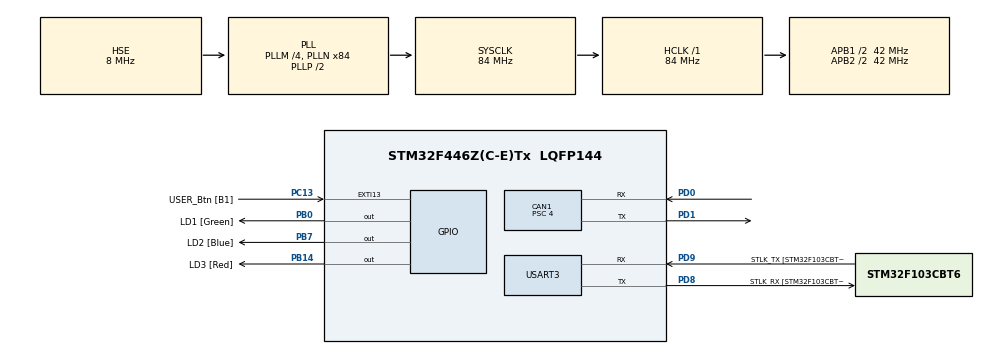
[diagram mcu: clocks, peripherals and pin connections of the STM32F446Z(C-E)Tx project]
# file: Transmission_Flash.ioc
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CAN1.BS1=CAN_BS1_13TQ
CAN1.BS2=CAN_BS2_2TQ
CAN1.CalculateBaudRate=656250
CAN1.CalculateTimeBit=1523
CAN1.CalculateTimeQuantum=95.23809523809524
CAN1.NART=ENABLE
CAN1.Prescaler=4
Mcu.Family=STM32F4
Mcu.Name=STM32F446Z(C-E)Tx
Mcu.Package=LQFP144
NVIC.CAN1_RX0_IRQn=true\:0\:0\:false\:false\:true\:true\:true\:true
NVIC.EXTI15_10_IRQn=true\:0\:0\:false\:false\:true\:true\:true\:true
NVIC.PriorityGroup=NVIC_PRIORITYGROUP_4
PB0.GPIO_Label=LD1 [Green]
PB0.Signal=GPIO_Output
PB14.GPIO_Label=LD3 [Red]
PB14.Signal=GPIO_Output
PB7.GPIO_Label=LD2 [Blue]
PB7.Signal=GPIO_Output
PC13.GPIO_Label=USER_Btn [B1]
PC13.Signal=GPXTI13
PC14-OSC32_IN.Mode=LSE-External-Oscillator
PC14-OSC32_IN.Signal=RCC_OSC32_IN
PC15-OSC32_OUT.Mode=LSE-External-Oscillator
PC15-OSC32_OUT.Signal=RCC_OSC32_OUT
PD0.Mode=CAN_Activate
PD0.Signal=CAN1_RX
PD1.Mode=CAN_Activate
PD1.Signal=CAN1_TX
PD8.GPIO_Label=STLK_RX [STM32F103CBT6_PA3]
PD8.Mode=Asynchronous
PD8.Signal=USART3_TX
PD9.GPIO_Label=STLK_TX [STM32F103CBT6_PA2]
PD9.Mode=Asynchronous
PD9.Signal=USART3_RX
PH0-OSC_IN.GPIO_Label=MCO [STM32F103CBT6_PA8]
PH0-OSC_IN.Mode=HSE-External-Clock-Source
PH0-OSC_IN.Signal=RCC_OSC_IN
PH1-OSC_OUT.Mode=HSE-External-Clock-Source
PH1-OSC_OUT.Signal=RCC_OSC_OUT
ProjectManager.HeapSize=0x200
ProjectManager.StackSize=0x400
ProjectManager.TargetToolchain=STM32CubeIDE
RCC.48MHZClocksFreq_Value=24000000
RCC.AHBFreq_Value=84000000
RCC.APB1CLKDivider=RCC_HCLK_DIV2
RCC.APB1Freq_Value=42000000
RCC.APB1TimFreq_Value=84000000
RCC.APB2CLKDivider=RCC_HCLK_DIV2
RCC.APB2Freq_Value=42000000
RCC.APB2TimFreq_Value=84000000
RCC.CortexFreq_Value=84000000
RCC.HCLKFreq_Value=84000000
RCC.HSE_VALUE=8000000
RCC.HSI_VALUE=16000000
RCC.PLLM=4
RCC.PLLMUL=RCC_PLL_MUL9
RCC.PLLN=84
RCC.PLLQ=7
RCC.PLLSourceVirtual=RCC_PLLSOURCE_HSE
RCC.PRESCALERUSB=RCC_USBCLKSOURCE_PLL_DIV1_5
RCC.SYSCLKFreq_VALUE=84000000
RCC.SYSCLKSource=RCC_SYSCLKSOURCE_PLLCLK
RCC.SYSCLKSourceVirtual=RCC_SYSCLKSOURCE_PLLCLK
RCC.USBFreq_Value=24000000
RCC.VCOOutputFreq_Value=168000000
USART3.VirtualMode=VM_ASYNC
board=NUCLEO-F446ZE

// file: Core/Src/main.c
/* USER CODE BEGIN Header */
/**
  ******************************************************************************
  * @file           : main.c
  * @brief          : Main program body
  ******************************************************************************
  * @attention
  *
  * Copyright (c) 2024 STMicroelectronics.
  * All rights reserved.
  *
  * This software is licensed under terms that can be found in the LICENSE file
  * in the root directory of this software component.
  * If no LICENSE file comes with this software, it is provided AS-IS.
  *
  ******************************************************************************
  */
/* USER CODE END Header */
#include "main.h"

/* USER CODE BEGIN Includes */
#include <stdio.h>
#include "F446ZE_FLASH_Sector_Addresses.h"
#include "applications.h"
/* USER CODE END Includes */

/* USER CODE BEGIN PD */

/* Before transmitting, we will program the update in Sector 7 ( = its last sector) of one of the F446 boards.
 * Programming a .bin file in the Flash memory is done through the STM32CubeProgrammer application.
 * This update will then be send to the second F446 board through the CAN bus. Here, we use wires to simulate this process.
 * For a real space application, a wireless CAN transceiver has to be used.
 * The receiving board will also store the update in sector 7. The sector choice is just an arbitrary decision.
 * Any other sector can be chosen too, as long as it doesn't conflict with firmware code. */

#define FLASH_USER_START_ADDR_TX   ADDR_FLASH_SECTOR_5_START		/* Start @ of user Flash area */
#define FLASH_USER_START_ADDR_RX   ADDR_FLASH_SECTOR_5_START
#define FLASH_USER_END_ADDR_TX     ADDR_FLASH_SECTOR_5_END 			/* End @ of user Flash area */
#define FLASH_USER_END_ADDR_RX	   ADDR_FLASH_SECTOR_5_END

#define DATA_32                    ((uint32_t)0x12345678)
/* USER CODE END PD */

CAN_HandleTypeDef hcan1;

UART_HandleTypeDef huart3;

/* USER CODE BEGIN PV */

// Define whether the board will be sending or receiving.
uint8_t			      	TX;

// CAN variables
CAN_TxHeaderTypeDef   	TxHeader_GroundStation;
CAN_TxHeaderTypeDef   	TxHeader_CubeSat;
CAN_RxHeaderTypeDef   	RxHeader_GroundStation;
CAN_RxHeaderTypeDef   	RxHeader_CubeSat;
uint8_t               	TxData[8];
uint8_t               	RxData[8];
uint32_t              	TxMailbox;
enum board_status 	  	{NO_UPDATE_AVAILABLE, SENDING_UPDATE, RECEIVING_UPDATE, UPDATE_FINISHED};
enum board_status 	  	board_status = NO_UPDATE_AVAILABLE;
enum ACK_status		  	{ACK, NACK};
enum ACK_status			ack_status = NACK;

// Flash Operation variables
uint32_t FirstSector = 0, NbOfSectors = 0;
uint32_t Address = FLASH_USER_START_ADDR_RX, SECTORError = 0;
__IO uint32_t data32 = 0 , MemoryProgramStatus = 0;
uint8_t TxBuffer;

/*Variable used for Flash Erase procedure*/
static FLASH_EraseInitTypeDef EraseInitStruct;

/* USER CODE END PV */

void SystemClock_Config(void);
static void MX_GPIO_Init(void);
static void MX_USART3_UART_Init(void);
static void MX_CAN1_Init(void);
/* USER CODE BEGIN PFP */

/* Function prototypes for Flash Operations */
static uint32_t GetSector(uint32_t Address);
static uint32_t GetSectorSize(uint32_t Sector);
static void Read_FLASH_and_Prepare_Data_for_CAN(uint32_t Sector, uint32_t StartSectorAddress);
static uint32_t Read_Message_and_Write_in_FLASH(uint32_t StartSectorAddress, uint32_t EndSectorAddress);
//static void sendACK(void);
//static enum ACK_status receiveACK(void);
/* USER CODE END PFP */

int main(void)
{
  /* USER CODE BEGIN 1 */

	/* Transmitting board: 	TX = 1
	 * Receiving board: 	TX = 0 */

	TX = 1;

  /* USER CODE END 1 */

  /* MCU Configuration--------------------------------------------------------*/

  /* Reset of all peripherals, Initializes the Flash interface and the Systick. */
  HAL_Init();

  /* Configure the system clock */
  SystemClock_Config();

  /* Initialize all configured peripherals */
  MX_GPIO_Init();
  MX_USART3_UART_Init();
  MX_CAN1_Init();
  /* USER CODE BEGIN 2 */

  /* As mentioned in 'stm32f4xx_hal_can.c', if you want to change any of the callback functions defined in 'stm32f4xx_hal_can.h',
   * you first need to set the macro 'USE_HAL_CAN_REGISTER_CALLBACKS' to 1 in 'stm32f4xx_hal_conf.h'.
   * This can also be done in the .ioc file GUI by going to Project Manager > Advanced Settings > Register Callback > CAN: ENABLE
   * Secondly, you need to register this callback using the function below. */
  //HAL_CAN_RegisterCallback(&hcan1, HAL_CAN_RX_FIFO0_MSG_PENDING_CB_ID, HAL_CAN_RxFifo0MsgPendingCallback);

  /* Before receiving an update, we need to make sure that the receiving board erases the sector where the update will be stored. */
  if (!TX){

	  /* Unlock the Flash to enable the flash control register access */
	  HAL_FLASH_Unlock();

	  /* Erase the user Flash area defined by FLASH_USER_START_ADDR_RX and FLASH_USER_END_ADDR_RX) */

	  /* Get the 1st sector to erase */
	  FirstSector = GetSector(FLASH_USER_START_ADDR_RX);
	  /* Get the number of sector to erase from 1st sector*/
	  NbOfSectors = GetSector(FLASH_USER_END_ADDR_RX) - FirstSector + 1;
	  /* Fill EraseInit structure*/
	  EraseInitStruct.TypeErase     = FLASH_TYPEERASE_SECTORS;
	  EraseInitStruct.VoltageRange  = FLASH_VOLTAGE_RANGE_3;
	  EraseInitStruct.Sector        = FirstSector;
	  EraseInitStruct.NbSectors     = NbOfSectors;

	  if (HAL_FLASHEx_Erase(&EraseInitStruct, &SECTORError) != HAL_OK)
	  {
	    /*
	      Error occurred while sector erase.
	      User can add here some code to deal with this error.
	      SECTORError will contain the faulty sector and then to know the code error on this sector,
	      user can call function 'HAL_FLASH_GetError()'
	    */
	    /* Infinite loop */
	    while (1)
	    {
	    	HAL_GPIO_WritePin(GPIOB, LD3_Pin, GPIO_PIN_SET);
	    }
	  }

	  /* Add a small delay so the Flash erase can be completed before the CAN is started. */
	  //HAL_Delay(2000);
	  HAL_FLASH_Lock();
    }

  /* Start the CAN and enable interrupts*/
  //HAL_CAN_Start(&hcan1);

  application1();
  /* USER CODE END 2 */

  /* Infinite loop */
  while (1)
  {

    /* USER CODE BEGIN 3 */

	  //printf("in the while \r\n");
	  if (TX){
		  if (board_status == NO_UPDATE_AVAILABLE){
			  HAL_GPIO_WritePin(GPIOB, LD2_Pin | LD1_Pin, GPIO_PIN_RESET);
			  HAL_GPIO_TogglePin(GPIOB, LD3_Pin);
			  HAL_Delay(1000);
		  }
		  else if (board_status == SENDING_UPDATE){
			  HAL_GPIO_WritePin(GPIOB, LD3_Pin | LD1_Pin, GPIO_PIN_RESET);
			  HAL_GPIO_TogglePin(GPIOB, LD2_Pin);
			  HAL_Delay(100);
		  }
		  else if (board_status == UPDATE_FINISHED){
			  HAL_GPIO_WritePin(GPIOB, LD2_Pin | LD3_Pin, GPIO_PIN_RESET);
			  HAL_GPIO_TogglePin(GPIOB, LD1_Pin);
			  HAL_Delay(1000);
		  }
	  }
	  else {
		  HAL_Delay(100);

		  if (HAL_CAN_GetRxFifoFillLevel(&hcan1, CAN_RX_FIFO0) != 0){
			  /* Get RX message */
			  if (HAL_CAN_GetRxMessage(&hcan1, CAN_RX_FIFO0, &RxHeader_CubeSat, RxData) != HAL_OK) {
				  /* Reception Error */
				  Error_Handler();
			  }
		  }
		  if (board_status == NO_UPDATE_AVAILABLE){
			  HAL_GPIO_WritePin(GPIOB, LD2_Pin | LD1_Pin, GPIO_PIN_RESET);
			  HAL_GPIO_TogglePin(GPIOB, LD3_Pin);
			  HAL_Delay(1000);
		  }
		  else if (board_status == RECEIVING_UPDATE){
			  HAL_GPIO_WritePin(GPIOB, LD3_Pin | LD1_Pin, GPIO_PIN_RESET);
			  HAL_GPIO_TogglePin(GPIOB, LD2_Pin);
			  HAL_Delay(100);
		  }
		  else if (board_status == UPDATE_FINISHED){
			  HAL_GPIO_WritePin(GPIOB, LD2_Pin | LD3_Pin, GPIO_PIN_RESET);
			  HAL_GPIO_TogglePin(GPIOB, LD1_Pin);
			  HAL_Delay(1000);
		  }
	  }
  }
  /* USER CODE END 3 */
}

void SystemClock_Config(void)
{
  RCC_OscInitTypeDef RCC_OscInitStruct = {0};
  RCC_ClkInitTypeDef RCC_ClkInitStruct = {0};

  /** Configure the main internal regulator output voltage
  */
  __HAL_RCC_PWR_CLK_ENABLE();
  __HAL_PWR_VOLTAGESCALING_CONFIG(PWR_REGULATOR_VOLTAGE_SCALE3);

  /** Initializes the RCC Oscillators according to the specified parameters
  * in the RCC_OscInitTypeDef structure.
  */
  RCC_OscInitStruct.OscillatorType = RCC_OSCILLATORTYPE_HSE;
  RCC_OscInitStruct.HSEState = RCC_HSE_BYPASS;
  RCC_OscInitStruct.PLL.PLLState = RCC_PLL_ON;
  RCC_OscInitStruct.PLL.PLLSource = RCC_PLLSOURCE_HSE;
  RCC_OscInitStruct.PLL.PLLM = 4;
  RCC_OscInitStruct.PLL.PLLN = 84;
  RCC_OscInitStruct.PLL.PLLP = RCC_PLLP_DIV2;
  RCC_OscInitStruct.PLL.PLLQ = 7;
  RCC_OscInitStruct.PLL.PLLR = 2;
  if (HAL_RCC_OscConfig(&RCC_OscInitStruct) != HAL_OK)
  {
    Error_Handler();
  }

  /** Initializes the CPU, AHB and APB buses clocks
  */
  RCC_ClkInitStruct.ClockType = RCC_CLOCKTYPE_HCLK|RCC_CLOCKTYPE_SYSCLK
                              |RCC_CLOCKTYPE_PCLK1|RCC_CLOCKTYPE_PCLK2;
  RCC_ClkInitStruct.SYSCLKSource = RCC_SYSCLKSOURCE_PLLCLK;
  RCC_ClkInitStruct.AHBCLKDivider = RCC_SYSCLK_DIV1;
  RCC_ClkInitStruct.APB1CLKDivider = RCC_HCLK_DIV2;
  RCC_ClkInitStruct.APB2CLKDivider = RCC_HCLK_DIV2;

  if (HAL_RCC_ClockConfig(&RCC_ClkInitStruct, FLASH_LATENCY_2) != HAL_OK)
  {
    Error_Handler();
  }
}

static void MX_CAN1_Init(void)
{

  /* USER CODE BEGIN CAN1_Init 0 */
  CAN_FilterTypeDef  sFilterConfig0;
  /* USER CODE END CAN1_Init 0 */

  hcan1.Instance = CAN1;
  hcan1.Init.Prescaler = 4;
  hcan1.Init.Mode = CAN_MODE_NORMAL;
  hcan1.Init.SyncJumpWidth = CAN_SJW_1TQ;
  hcan1.Init.TimeSeg1 = CAN_BS1_13TQ;
  hcan1.Init.TimeSeg2 = CAN_BS2_2TQ;
  hcan1.Init.TimeTriggeredMode = DISABLE;
  hcan1.Init.AutoBusOff = DISABLE;
  hcan1.Init.AutoWakeUp = DISABLE;
  hcan1.Init.AutoRetransmission = ENABLE;
  hcan1.Init.ReceiveFifoLocked = DISABLE;
  hcan1.Init.TransmitFifoPriority = DISABLE;
  if (HAL_CAN_Init(&hcan1) != HAL_OK)
  {
    Error_Handler();
  }
  /* USER CODE BEGIN CAN1_Init 2 */

  sFilterConfig0.FilterBank = 0;
  sFilterConfig0.FilterMode = CAN_FILTERMODE_IDMASK;
  sFilterConfig0.FilterScale = CAN_FILTERSCALE_32BIT;
  sFilterConfig0.FilterIdHigh = 0x0000;
  sFilterConfig0.FilterIdLow = 0x0000;
  sFilterConfig0.FilterMaskIdHigh = 0x0000;
  sFilterConfig0.FilterMaskIdLow = 0x0000;
  sFilterConfig0.FilterFIFOAssignment = CAN_RX_FIFO0;
  sFilterConfig0.FilterActivation = ENABLE;
  sFilterConfig0.SlaveStartFilterBank = 14;
  if (HAL_CAN_ConfigFilter(&hcan1, &sFilterConfig0) != HAL_OK) {
	/* Filter configuration Error */
	Error_Handler();
  }

  if (HAL_CAN_Start(&hcan1) != HAL_OK)
  {
    /* Start Error */
    Error_Handler();
  }

  if (HAL_CAN_ActivateNotification(&hcan1, CAN_IT_RX_FIFO0_MSG_PENDING) != HAL_OK)
    {
    /* Notification Error */
      Error_Handler();
    }

  TxHeader_GroundStation.StdId = 0b00000000000;
  TxHeader_GroundStation.ExtId = 0x00;
  TxHeader_GroundStation.RTR = CAN_RTR_DATA;
  TxHeader_GroundStation.IDE = CAN_ID_STD;
  TxHeader_GroundStation.DLC = 8; // Data length is equal to 8
  TxHeader_GroundStation.TransmitGlobalTime = DISABLE;

  TxHeader_CubeSat.StdId = 0b00000000000;
  TxHeader_CubeSat.ExtId = 0x00;
  TxHeader_CubeSat.RTR = CAN_RTR_DATA;
  TxHeader_CubeSat.IDE = CAN_ID_STD;
  TxHeader_CubeSat.DLC = 1; // Data length is equal to 1
  TxHeader_CubeSat.TransmitGlobalTime = DISABLE;

  /* USER CODE END CAN1_Init 2 */

}

static void MX_USART3_UART_Init(void)
{

  huart3.Instance = USART3;
  huart3.Init.BaudRate = 115200;
  huart3.Init.WordLength = UART_WORDLENGTH_8B;
  huart3.Init.StopBits = UART_STOPBITS_1;
  huart3.Init.Parity = UART_PARITY_NONE;
  huart3.Init.Mode = UART_MODE_TX_RX;
  huart3.Init.HwFlowCtl = UART_HWCONTROL_NONE;
  huart3.Init.OverSampling = UART_OVERSAMPLING_16;
  if (HAL_UART_Init(&huart3) != HAL_OK)
  {
    Error_Handler();
  }

}

static void MX_GPIO_Init(void)
{
  GPIO_InitTypeDef GPIO_InitStruct = {0};

  /* GPIO Ports Clock Enable */
  __HAL_RCC_GPIOC_CLK_ENABLE();
  __HAL_RCC_GPIOH_CLK_ENABLE();
  __HAL_RCC_GPIOB_CLK_ENABLE();
  __HAL_RCC_GPIOD_CLK_ENABLE();

  /*Configure GPIO pin Output Level */
  HAL_GPIO_WritePin(GPIOB, LD1_Pin|LD3_Pin|LD2_Pin, GPIO_PIN_RESET);

  /*Configure GPIO pin : USER_Btn_Pin */
  GPIO_InitStruct.Pin = USER_Btn_Pin;
  GPIO_InitStruct.Mode = GPIO_MODE_IT_RISING;
  GPIO_InitStruct.Pull = GPIO_NOPULL;
  HAL_GPIO_Init(USER_Btn_GPIO_Port, &GPIO_InitStruct);

  /*Configure GPIO pins : LD1_Pin LD3_Pin LD2_Pin */
  GPIO_InitStruct.Pin = LD1_Pin|LD3_Pin|LD2_Pin;
  GPIO_InitStruct.Mode = GPIO_MODE_OUTPUT_PP;
  GPIO_InitStruct.Pull = GPIO_NOPULL;
  GPIO_InitStruct.Speed = GPIO_SPEED_FREQ_LOW;
  HAL_GPIO_Init(GPIOB, &GPIO_InitStruct);

  /* EXTI interrupt init*/
  HAL_NVIC_SetPriority(EXTI15_10_IRQn, 0, 0);
  HAL_NVIC_EnableIRQ(EXTI15_10_IRQn);

}

/* USER CODE BEGIN 4 */

/* We will read the full sector. We read a byte each time and pass it to the TxData[i] of the CAN.
 * The maximum amount of data the CAN protocol can send per message is 8 bytes,
 * so we will repeat the read operation 8 times. */

void Read_FLASH_and_Prepare_Data_for_CAN(uint32_t Sector, uint32_t StartSectorAddress){

	board_status = SENDING_UPDATE;
	HAL_GPIO_WritePin(GPIOB, LD3_Pin | LD1_Pin, GPIO_PIN_RESET);

	/* Unlock the Flash to enable the flash control register access. */
	HAL_FLASH_Unlock();
	/* Since sectors can have different length, we need to calculate how many bytes need to be read. */
	//uint32_t nrOfBytes = GetSectorSize(Sector);
	uint32_t nrOfBytes =56;
	//uint32_t sector = Sector;

 	while (nrOfBytes != 0){
 		HAL_GPIO_TogglePin(GPIOB, LD2_Pin);
 		for (int i = 0; i < 8; i++){
 			/* Read the first byte from Flash and store it in TxBuffer. */
 			TxBuffer = *(__IO uint8_t *)StartSectorAddress;

 			/* Put the content of TxBuffer in TxData[i]. */
 			TxData[i] = TxBuffer;

 			/* Move to the next byte in Flash memory. */
 			StartSectorAddress += sizeof(uint8_t);

 			/* Decrement the number of bytes that still have to be read. */
 			nrOfBytes--;
 			//printf("Sector: %lu \r\n", sector);
 			printf("nrOfBytes: %lu \r\n", nrOfBytes);
 			printf("TxData: %02X \r\n", TxData[i]);
 		}

 		/* Now that we have 8 bytes of data, we send a message through the CAN bus! */
 		HAL_CAN_AddTxMessage(&hcan1 , &TxHeader_GroundStation, TxData, &TxMailbox);
	}

 	/* When all data is read and sent, we lock the Flash memory again to protect it from unwanted operations. */
 	HAL_FLASH_Lock();
 	board_status = UPDATE_FINISHED;
}

/* When a message is received, we need to read it and write it in the Flash memory of the receiving board. */
uint32_t Read_Message_and_Write_in_FLASH(uint32_t StartSectorAddress, uint32_t EndSectorAddress){

	printf("reading message \r\n");

	HAL_FLASH_Unlock();

	board_status = RECEIVING_UPDATE;

//	/* Get RX message */
//	if (HAL_CAN_GetRxMessage(&hcan1, CAN_RX_FIFO0, &RxHeader, RxData) != HAL_OK)
//	{
//		/* Reception Error */
//	    Error_Handler();
//	}

	/* Program the user Flash area byte by byte. */
	Address = StartSectorAddress;
	if (Address < EndSectorAddress){

		HAL_GPIO_TogglePin(GPIOB, LD2_Pin);

		/* Get RX message */
		if (HAL_CAN_GetRxMessage(&hcan1, CAN_RX_FIFO0, &RxHeader_CubeSat, RxData) != HAL_OK){

			/* Reception Error */
			Error_Handler();
		}

		for (int i = 0; i < 8; i++){
			if (HAL_FLASH_Program(FLASH_TYPEPROGRAM_BYTE, Address, RxData[i]) == HAL_OK){
				//Address = Address + 4;
				Address++;
				//printf("RxData: %02X \r\n", RxData[i]);
			}
		}
		//sendACK();
	}

	 /* Lock the Flash to disable the flash control register access
	  * (recommended to protect the FLASH memory against possible unwanted operation). */
	HAL_FLASH_Lock();
	board_status = UPDATE_FINISHED;
	return Address;
}

//void sendACK(){
//
//	TxData[0] = 0x11;
//	HAL_CAN_AddTxMessage(&hcan1 , &TxHeader_CubeSat, TxData, &TxMailbox);
//}
//
//enum ACK_status receiveACK(){
//
//	if (HAL_CAN_GetRxMessage(&hcan1, CAN_RX_FIFO0, &RxHeader_GroundStation, RxData) != HAL_OK){
//		/* Reception Error */
//		Error_Handler();
//	}
//
//	if ((RxHeader_GroundStation.DLC == 1) && RxData[0] == 0x11){
//		printf("ACK \r\n");
//		ack_status = ACK;
//	}
//	else {
//		ack_status = NACK;
//	}
//	return ack_status;
//}

/**
  * @brief  Gets the sector of a given address
  * @param  None
  * @retval The sector of a given address
  */
static uint32_t GetSector(uint32_t Address)
{
  uint32_t sector = 0;

  if((Address < ADDR_FLASH_SECTOR_1_START) && (Address >= ADDR_FLASH_SECTOR_0_START))
  {
    sector = FLASH_SECTOR_0;
  }
  else if((Address < ADDR_FLASH_SECTOR_2_START) && (Address >= ADDR_FLASH_SECTOR_1_START))
  {
    sector = FLASH_SECTOR_1;
  }
  else if((Address < ADDR_FLASH_SECTOR_3_START) && (Address >= ADDR_FLASH_SECTOR_2_START))
  {
    sector = FLASH_SECTOR_2;
  }
  else if((Address < ADDR_FLASH_SECTOR_4_START) && (Address >= ADDR_FLASH_SECTOR_3_START))
  {
    sector = FLASH_SECTOR_3;
  }
  else if((Address < ADDR_FLASH_SECTOR_5_START) && (Address >= ADDR_FLASH_SECTOR_4_START))
  {
    sector = FLASH_SECTOR_4;
  }
  else if((Address < ADDR_FLASH_SECTOR_6_START) && (Address >= ADDR_FLASH_SECTOR_5_START))
  {
    sector = FLASH_SECTOR_5;
  }
  else if((Address < ADDR_FLASH_SECTOR_7_START) && (Address >= ADDR_FLASH_SECTOR_6_START))
  {
    sector = FLASH_SECTOR_6;
  }
  else /* (Address < FLASH_END_ADDR) && (Address >= ADDR_FLASH_SECTOR_7) */
  {
    sector = FLASH_SECTOR_7;
  }
  return sector;
}

/**
  * @brief  Gets sector Size
  * @param  None
  * @retval The size of a given sector
  */
static uint32_t GetSectorSize(uint32_t Sector)
{
  uint32_t sectorsize = 0x00;
  if((Sector == FLASH_SECTOR_0) || (Sector == FLASH_SECTOR_1) || (Sector == FLASH_SECTOR_2) || (Sector == FLASH_SECTOR_3))
  {
    sectorsize = 16 * 1024;
  }
  else if(Sector == FLASH_SECTOR_4)
  {
    sectorsize = 64 * 1024;
  }
  else
  {
    sectorsize = 128 * 1024;
  }
  return sectorsize;
}

void HAL_GPIO_EXTI_Callback(uint16_t GPIO_Pin){
	if (GPIO_Pin == GPIO_PIN_13){

		// Start reading the Flash sector where we stored the .bin file of the update.
		Read_FLASH_and_Prepare_Data_for_CAN(FLASH_SECTOR_3, FLASH_USER_START_ADDR_TX);
	}
}

//void HAL_CAN_RxFifo0MsgPendingCallback(CAN_HandleTypeDef *hcan)
//{
//  /* Get RX message */
//  if (HAL_CAN_GetRxMessage(hcan, CAN_RX_FIFO0, &RxHeader, RxData) != HAL_OK)
//  {
//    /* Reception Error */
//    Error_Handler();
//  }
//
//  /* Display LEDx */
//  if ((RxHeader.StdId == 0b00000000000) && (RxHeader.IDE == CAN_ID_STD) && (RxHeader.DLC == 8))
//  {
//    printf("message received \r\n");
//  }
//}

void HAL_CAN_RxFifo0MsgPendingCallback(CAN_HandleTypeDef *hcan)
{
//	if (TX){
//		printf("in the transmitter's callback \r\n");
//		receiveACK();

//	}
//	else {
		printf("in the receiver's callback \r\n");
		Read_Message_and_Write_in_FLASH(Address, FLASH_USER_END_ADDR_RX);
//	}

}

/* Enabling a print function for Putty. */
#ifdef __GNUC__

 /* With GCC, small printf (option LD Linker->Libraries->Small printf set to 'Yes') calls __io_putchar() */
int __io_putchar(int ch)
#else
int fputc(int ch, FILE *f)
#endif /* __GNUC__ */
{
	HAL_UART_Transmit(&huart3, (uint8_t *)&ch, 1, HAL_MAX_DELAY);
	return ch;
}
/* USER CODE END 4 */

void Error_Handler(void)
{
  __disable_irq();
  while (1)
  {
  }
}
